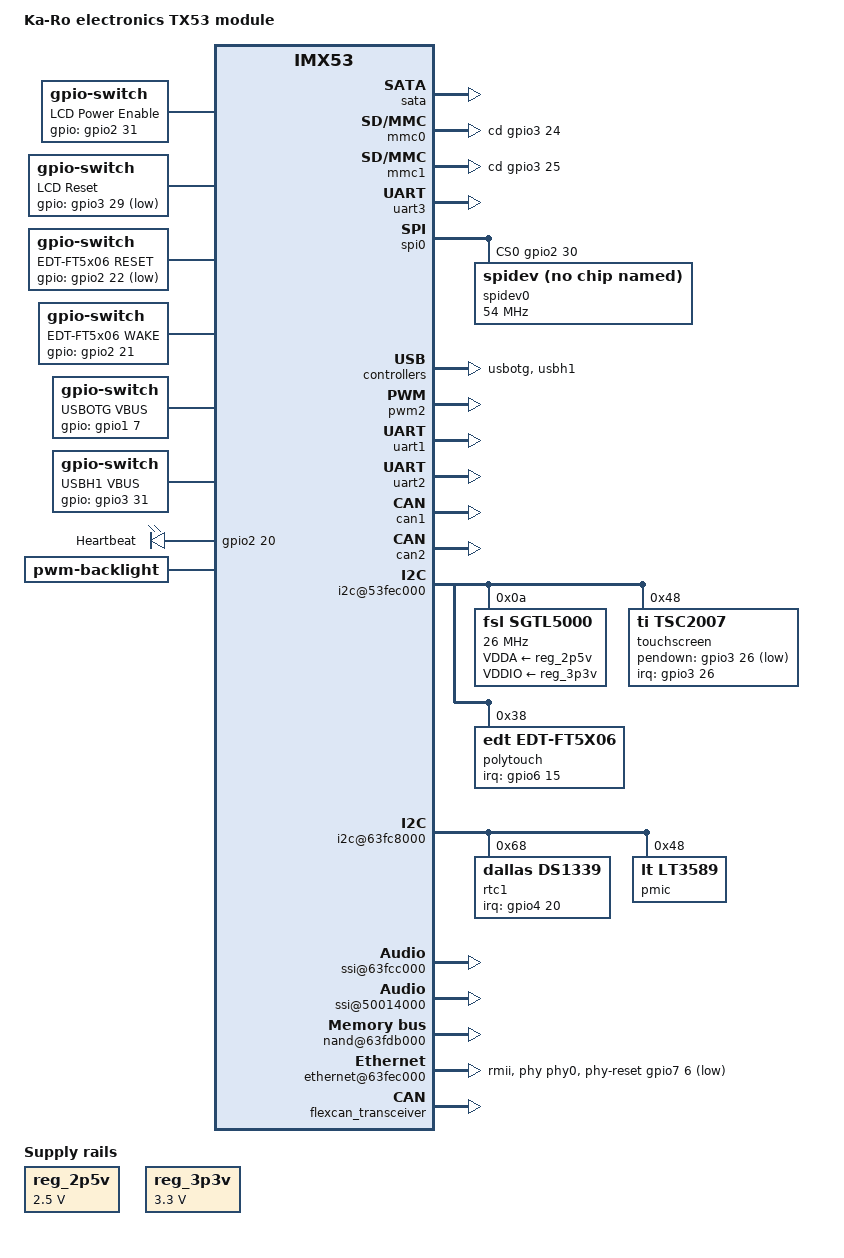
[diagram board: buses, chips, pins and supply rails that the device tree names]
/*
 * Copyright 2012 <LW@KARO-electronics.de>
 * based on imx53-qsb.dts
 *   Copyright 2011 Freescale Semiconductor, Inc.
 *   Copyright 2011 Linaro Ltd.
 *
 * The code contained herein is licensed under the GNU General Public
 * License. You may obtain a copy of the GNU General Public License
 * Version 2 at the following locations:
 *
 * http://www.opensource.org/licenses/gpl-license.html
 * http://www.gnu.org/copyleft/gpl.html
 */

/dts-v1/;
#include "mx53.dtsi"

/ {
	model = "Ka-Ro electronics TX53 module";
	compatible = "karo,tx53", "fsl,imx53";

	chosen {
		bootargs = "init=/linuxrc console=ttymxc0,115200 root=/dev/mtdblock3 rootfstype=jffs2 ro debug panic=1";
	};

	aliases {
		ipu = &ipu;
	};

	clocks {
		ckih1 {
			clock-frequency = <0>;
		};
	};

	soc {
		extmc: extmc@00000000 {
			sata: sata@10000000 {
				status = "okay";
			};

			ipu: ipu@1e000000 {
				status = "okay";
			};
		};

		aips1: aips@50000000 { /* AIPS1 */
			spba@50000000 {
				mmc0: esdhc@50004000 { /* ESDHC1 */
					status = "okay";
					cd-gpios = <&gpio3 24 0>;
					fsl,wp-controller;
				};

				mmc1: esdhc@50008000 { /* ESDHC2 */
					status = "okay";
					cd-gpios = <&gpio3 25 0>;
					fsl,wp-controller;
				};

				uart3: uart@5000c000 {
					status = "okay";
					pinctrl-names = "default";
					pinctrl-0 = <&pinctrl_uart3_1>;
					fsl,uart-has-rtscts;
				};

				spi0: ecspi@50010000 { /* ECSPI1 */
					status = "okay";

					pinctrl-names = "default";
					pinctrl-0 = <
						&pinctrl_ecspi1_1
						&pinctrl_cspi1_cs
					>;

					fsl,spi-num-chipselects = <2>;
					cs-gpios = <&gpio2 30 0 &gpio3 19 0>;

					spidev0: spi@0 {
						compatible = "spidev";
						reg = <0>;
						spi-max-frequency = <54000000>;
					};
				};
			};

			usbotg: imxotg@53f80000 {
				status = "okay";

				ignore-overcurrent;
				enable-wakeup;
				vbus-gpio = <&usbotg_vbus>;
			};

			usbh1: imxotg@53f80200 {
				status = "okay";

				ignore-overcurrent;
				enable-wakeup;
				vbus-gpio = <&usbh1_vbus>;
			};

			usbphy: imx-usb-phy@53f80800 {
				status = "okay";

				device-ports = <&usbotg>;
				host-ports = <&usbotg &usbh1>;
			};

			keypad@53f94000 {
				status = "okay";
				/* sample keymap */
				/* row/col 0,1 are mapped to KPP row/col 6,7 */
				linux,keymap = < 0x06060074 /* row 6, col 6, KEY_POWER */
					       	 0x06070052 /* row 6, col 7, KEY_KP0 */
					       	 0x0602004f /* row 6, col 2, KEY_KP1 */
					       	 0x06030050 /* row 6, col 3, KEY_KP2 */
					       	 0x07060051 /* row 7, col 6, KEY_KP3 */
					       	 0x0707004b /* row 7, col 7, KEY_KP4 */
					       	 0x0702004c /* row 7, col 2, KEY_KP5 */
					       	 0x0703004d /* row 7, col 3, KEY_KP6 */
					       	 0x02060047 /* row 2, col 6, KEY_KP7 */
					       	 0x02070048 /* row 2, col 7, KEY_KP8 */
					       	 0x02020049 /* row 2, col 2, KEY_KP9 */
						 >;
			};

			wdog@53f98000 { /* WDOG1 */
				status = "okay";
			};

			iomuxc@53fa8000 {
				compatible = "fsl,imx53-iomuxc-tx53";

				pinctrl-names = "default";
				pinctrl-0 = <&pinctrl_tsc2007_pd>;

				pincontroller {
					pinctrl_stk5_led: stk5-led-gpios {
						fsl,pins = <
							589 0xc0 /* MX53_PAD_EIM_A18__GPIO2_20 */
						>;
					};

					pinctrl_ds1339_int: ds1339-gpios {
						fsl,pins = <
							104 0xe0 /* MX53_PAD_DI0_PIN4__GPIO4_20 */
						>;
					};

					pinctrl_cspi1_cs: cspi1-cs-gpios {
						fsl,pins = <
							424 0xe0 /* MX53_PAD_EIM_EB2__GPIO2_30 */
							449 0xe0 /* MX53_PAD_EIM_D19__GPIO3_19 */
						>;
					};

					pinctrl_esdhc1_cd: esdhc1-cd-gpios {
						fsl,pins = <
							493 0x1f0 /* MX53_PAD_EIM_D24__GPIO3_24 */
						>;
					};

					pinctrl_esdhc2_cd: esdhc2-cd-gpios {
						fsl,pins = <
							501 0x1f0 /* MX53_PAD_EIM_D25__GPIO3_25 */
						>;
					};

					pinctrl_tsc2007_pd: pendown-gpios {
						fsl,pins = <
							517 0x1f0 /* MX53_PAD_EIM_D27__GPIO3_27 */
						>;
					};
				};
			};

			pwm2: pwm@53fb8000 {
				status = "okay";
			};

			uart1: uart@53fbc000 {
				status = "okay";
				pinctrl-names = "default";
				pinctrl-0 = <&pinctrl_uart1_2>;
				fsl,uart-has-rtscts;
			};

			uart2: uart@53fc0000 {
				status = "okay";
				pinctrl-names = "default";
				pinctrl-0 = <&pinctrl_uart2_1>;
				fsl,uart-has-rtscts;
			};

			can1: flexcan@53fc8000 {
				status = "okay";
				transceiver-switch = <&flexcan_transceiver>;
			};

			can2: flexcan@53fcc000 {
				status = "okay";
				transceiver-switch = <&flexcan_transceiver>;
			};

			i2c@53fec000 { /* I2C3 */
				status = "okay";

				pinctrl-names = "default";
				pinctrl-0 = <&pinctrl_i2c3_1>;

				sgtl5000: sgtl5000@0a {
					compatible = "fsl,sgtl5000";
					reg = <0x0a>;
					VDDA-supply = <&reg_2p5v>;
					VDDIO-supply = <&reg_3p3v>;
					clock-frequency = <26000000>;
				};

				touchscreen: tsc2007@48 {
					compatible = "ti,tsc2007";
					reg = <0x48>;
					interrupt-parent = <&gpio3>;
					interrupts = <26 0>;
					pendown-gpio = <&gpio3 26 1>;
					model = "2007";
					x-plate-ohms = <660>;
				};

				polytouch: edt-ft5x06@ {
					compatible = "edt,edt-ft5x06";
					reg = <0x38>;
					interrupt-parent = <&gpio6>;
					interrupts = <15 0>;
					reset-switch = <&edt_ft5x06_reset>;
					wake-switch = <&edt_ft5x06_wake>;
				};
			};
		};

		aips2: aips@60000000 {	/* AIPS2 */

			sdma@63fb0000 {
				fsl,sdma-ram-script-name = "sdma-imx53.bin";
			};

			i2c@63fc8000 { /* I2C1 */
				status = "okay";

				pinctrl-names = "default";
				pinctrl-0 = <
					&pinctrl_i2c1_2
					&pinctrl_ds1339_int
				>;

				rtc1: ds1339@68 {
					compatible = "dallas,ds1339";
					reg = <0x68>;
					trickle-charge = <0xa5>;
					interrupt-parent = <&gpio4>;
					interrupts = <20 0>;
				};

				pmic: lt3589@48 {
					compatible = "lt,lt3589";
					reg = <0x48>;
				};
			};

			ssi@63fcc000 {
				status = "okay";
				rx-dma = <28>;
				tx-dma = <29>;
				i2s-sync-mode;
			};

			ssi@50014000 {
				status = "okay";
			};

			audmux@63fd0000 {
				status = "okay";

				pinctrl-names = "default";
				pinctrl-0 = <&pinctrl_audmux_1>;
			};

			nand@63fdb000 {
				status = "okay";

				nand-bus-width = <8>;
				nand-ecc-mode = "hw";
				nand-on-flash-bbt;
			};

			ethernet@63fec000 {
				status = "okay";

				pinctrl-names = "default";
				pinctrl-0 = <&pinctrl_fec_1>;

				phy-mode = "rmii";
				phy-reset-gpios = <&gpio7 6 0>;
				phy-handle = <&phy0>;
				mac-address = [000000000000];

				phy0: ethernet-phy@0 {
					interrupt-parent = <&gpio2>;
					interrupts = <4>;
					device_type = "ethernet-phy";
				};
			};
		};
	};

	sound {
		compatible = "fsl,imx-sgtl5000";
		status = "okay";
		/* '1' based port numbers according to datasheet names */
		ssi-port = <1>;
		audmux-port = <5>;
		sysclk = <26000000>;
	};

	gpio-switch {
		compatible = "gpio-switches", "simple-bus";
		#address-cells = <1>;
		#size-cells = <0>;

		flexcan_transceiver: gpio-switch@0 {
			compatible = "linux,gpio-switch";
			gpio = <&gpio4 21 1>;
			label = "Flexcan Transceiver Enable";
			gpio-shared;
			init-state = <0>;
		};

		lcd_power: gpio-switch@1 {
			compatible = "linux,gpio-switch";
			gpio = <&gpio2 31 0>;
			label = "LCD Power Enable";
			init-state = <0>;
		};

		lcd_reset: gpio-switch@2 {
			compatible = "linux,gpio-switch";
			gpio = <&gpio3 29 1>;
			label = "LCD Reset";
			init-state = <1>;
		};

		edt_ft5x06_reset: gpio-switch@3 {
			compatible = "linux,gpio-switch";
			gpio = <&gpio2 22 1>;
			label = "EDT-FT5x06 RESET";
		};

		edt_ft5x06_wake: gpio-switch@4 {
			compatible = "linux,gpio-switch";
			gpio = <&gpio2 21 0>;
			label = "EDT-FT5x06 WAKE";
			init-state = <1>;
		};

		usbotg_vbus: gpio-switch@5 {
			compatible = "linux,gpio-switch";
			gpio = <&gpio1 7 0>;
			label = "USBOTG VBUS";
		};

		usbh1_vbus: gpio-switch@6 {
			compatible = "linux,gpio-switch";
			gpio = <&gpio3 31 0>;
			label = "USBH1 VBUS";
		};
	};

	leds {
		compatible = "gpio-leds";

		pinctrl-names = "default";
		pinctrl-0 = <&pinctrl_stk5_led>;

		user {
			label = "Heartbeat";
			gpios = <&gpio2 20 0>;
			linux,default-trigger = "heartbeat";
		};
	};

	lcd {
		compatible = "of-gpio-lcd";
		parent = <&ipu>;

		power-switch = <&lcd_power>;
/*
		reset-switch = <&lcd_reset>;
		reset-delay-us = <300>;
*/
	};

	backlight: pwm-backlight {
		compatible = "pwm-backlight";

		pwm = <&pwm2>;
		inverted;
		max-brightness = <100>;
		dft-brightness = <50>;
		pwm-period-ns = <1000000>;
	};

	regulators {
		compatible = "simple-bus";

		reg_2p5v: 2p5v {
			compatible = "regulator-fixed";
			regulator-name = "2P5V";
			regulator-min-microvolt = <2500000>;
			regulator-max-microvolt = <2500000>;
			regulator-always-on;
		};

		reg_3p3v: 3p3v {
			compatible = "regulator-fixed";
			regulator-name = "3P3V";
			regulator-min-microvolt = <3300000>;
			regulator-max-microvolt = <3300000>;
			regulator-always-on;
		};
	};
};
